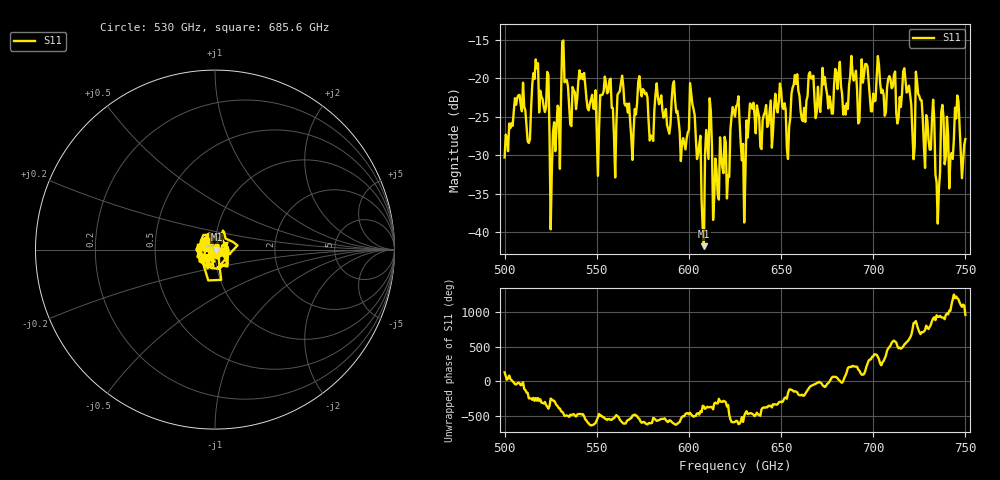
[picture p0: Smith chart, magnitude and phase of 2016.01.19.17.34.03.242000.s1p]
!Created with skrf (http://scikit-rf.org).
# GHz S RI R 50.0
!freq ReS11 ImS11
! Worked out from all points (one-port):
!   401 points, 500 GHz to 750 GHz, reference 50 ohm
!   lowest |S11| = -41.8 dB at 608.1 GHz (marker M1), VSWR 1.02, Z = 50.8 - j0.0365 ohm
!   |S11| at or under -10 dB: start of sweep to end of sweep
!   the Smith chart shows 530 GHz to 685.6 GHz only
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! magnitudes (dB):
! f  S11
! 500 GHz  -30.3
! 506.9 GHz  -22.5
! 513.1 GHz  -28.4
! 516.9 GHz  -17.6
! 526.2 GHz  -27.0
! 531.2 GHz  -15.3
! 550 GHz  -27.4
! 556.2 GHz  -21.8
! 559.4 GHz  -27.7
! 562.5 GHz  -21.7
! 569.4 GHz  -30.6
! 573.8 GHz  -21.5
! 593.8 GHz  -24.3
! 601.9 GHz  -23.4
! 608.1 GHz  -41.8
! 610.6 GHz  -30.5
! 614.4 GHz  -30.4
! 625 GHz  -25.0
! 629.4 GHz  -28.5
! 633.8 GHz  -23.5
! 653.8 GHz  -30.5
! 656.2 GHz  -21.2
! 687.5 GHz  -19.8
! 718.8 GHz  -21.7
! 731.9 GHz  -25.5
! 735 GHz  -38.9
! 738.1 GHz  -25.1
! 750 GHz  -27.9
